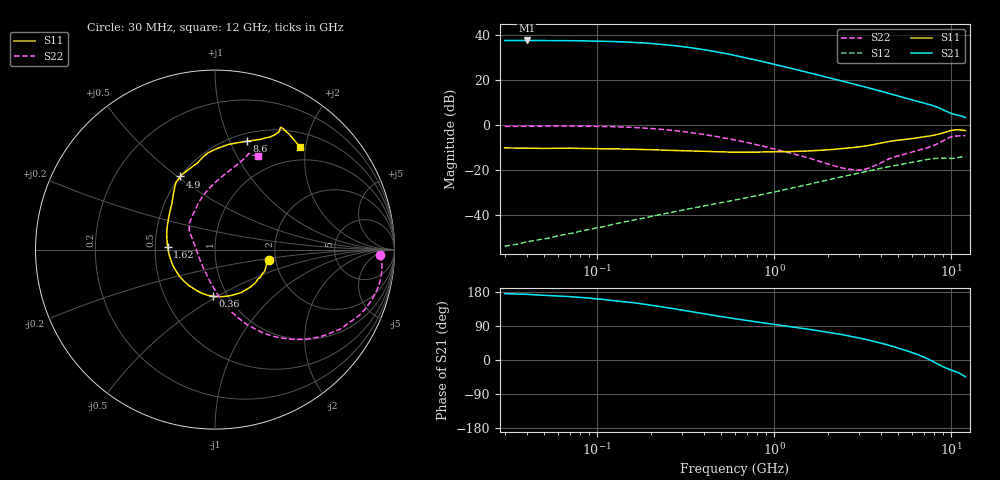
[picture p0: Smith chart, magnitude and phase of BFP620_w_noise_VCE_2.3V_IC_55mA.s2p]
! Infineon Technologies  Discrete & RF Semiconductors
! BFP620
! VCE =  2.3 V,  IC =  55 mA
! Common Emitter S-Parameters:  Nov 2015
# GHz  S  MA  R  50
!  f  S11  S21  S12  S22
! GHz  MAG  ANG  MAG  ANG  MAG  ANG  MAG  ANG
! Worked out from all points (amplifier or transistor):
!   239 points, 30 MHz to 12 GHz, reference 50 ohm
!   highest |S21| = 37.5 dB at 40 MHz (marker M1)
!   |S21| within 3 dB of that: start of sweep to 322.4 MHz
!   unconditionally stable (mu >= 1): 1.888 GHz to end of sweep
!   at 300 MHz: K = 0.51, MSG = 36.4 dB, |S12| = -38.0 dB
!   at 1.88 GHz: K = 1.00, MSG = 23.3 dB, |S12| = -25.0 dB
!   at 12 GHz: K = 1.09, MAG = 7.0 dB, |S12| = -14.3 dB
!   lowest NFmin = 1.59 dB at 450 MHz
!   S11 on the Smith chart (normalised r, x): 30 MHz: 1.84, -0.23; 360 MHz: 0.85, -0.48; 1.62 GHz: 0.58, +0.02; 4.9 GHz: 0.50, +0.51; 8.6 GHz: 0.58, +1.16; 12 GHz: 0.75, +1.89
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0.03  0.3057 -10.6  74.6 175.2  0.002 86.0  0.9214 -1.9
0.04  0.3027 -14.4  74.91 173.3  0.0025 84.6  0.9303 -4.0
0.05  0.2979 -16.2  74.63 170.4  0.0029 83.3  0.9355 -6.0
0.07  0.3021 -23.9  74.32 167.3  0.0038 78.5  0.9364 -10.2
0.085  0.2968 -27.5  73.39 164.2  0.0045 79.9  0.9319 -13.1
0.115  0.2907 -36.5  71.68 158.5  0.0057 77.9  0.9133 -18.6
0.145  0.2879 -44.9  69.27 153.5  0.007 76.1  0.8873 -23.8
0.185  0.281 -55.0  65.58 147.3  0.0085 74.6  0.8427 -29.9
0.24  0.2724 -68.3  60.48 139.3  0.0105 72.9  0.781 -37.4
0.3  0.2652 -81.3  55.02 131.8  0.0126 71.2  0.7129 -44.5
0.36  0.2604 -92.6  49.9 125.7  0.0144 70.0  0.649 -50.2
0.45  0.2535 -106.8  43.19 118.1  0.0171 69.1  0.5657 -57.5
0.6  0.2476 -125.6  34.75 108.8  0.0212 68.0  0.4583 -66.6
0.9  0.2477 -150.5  24.33 96.7  0.0294 66.9  0.3207 -78.9
1.2  0.2528 -166.6  18.57 88.6  0.0375 65.2  0.2409 -87.9
1.62  0.2643 177.3  13.91 80.1  0.049 62.1  0.1743 -100.3
1.64  0.265 176.5  13.75 79.7  0.0495 62.0  0.1721 -100.9
2.6  0.3022 150.5  8.688 64.0  0.0747 53.0  0.1036 -142.6
4.5  0.4319 120.3  4.898 38.0  0.1183 33.3  0.1788 143.4
4.9  0.4507 115.3  4.475 33.1  0.1261 29.2  0.1991 135.8
8.6  0.6293 73.6  2.329 -13.3  0.1807 -10.6  0.4009 85.7
12  0.7418 50.3  1.446 -44.2  0.1928 -37.2  0.5755 65.3
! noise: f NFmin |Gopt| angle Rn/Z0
0.45  1.59  0.32  -166  0.1
0.9  1.61  0.35  -155  0.11
1.9  1.62  0.38  -139  0.13
2.4  1.63  0.38  -137  0.14
3.5  1.69  0.43  -106  0.25
5.5  1.98  0.45  -85  0.35
10  2.28  0.66  -42  1.31
